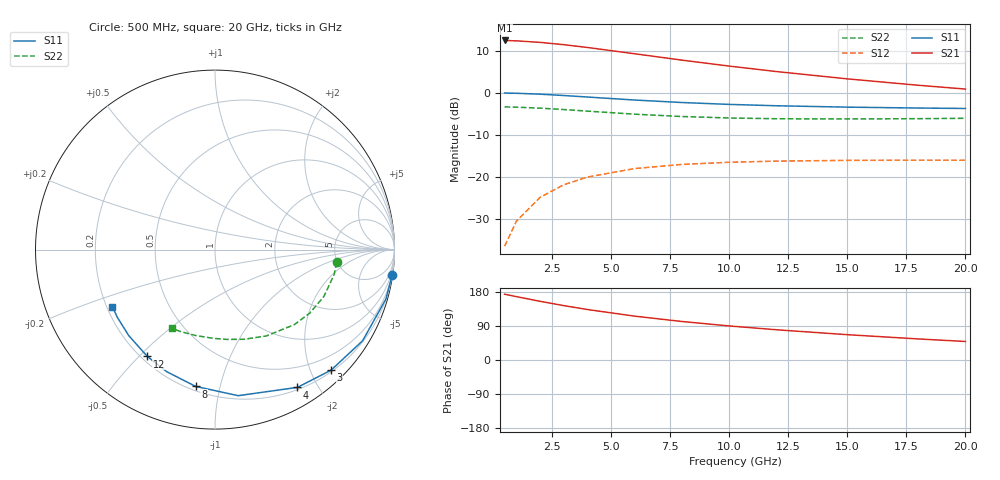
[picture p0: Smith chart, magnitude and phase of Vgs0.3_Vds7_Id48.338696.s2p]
# Hz S RI R 50
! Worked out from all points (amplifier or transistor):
!   12 points, 500 MHz to 20 GHz, reference 50 ohm
!   highest |S21| = 12.5 dB at 500 MHz (marker M1)
!   |S21| within 3 dB of that: start of sweep to 5.791 GHz
!   unconditionally stable (mu >= 1): 18.7 GHz to end of sweep
!   at 2 GHz: K = 0.10, MSG = 18.4 dB, |S12| = -24.8 dB
!   at 8 GHz: K = 0.41, MSG = 12.4 dB, |S12| = -17.0 dB
!   at 20 GHz: K = 1.08, MAG = 6.7 dB, |S12| = -16.0 dB
!   S11 on the Smith chart (normalised r, x): 500 MHz: 0, -14; 3 GHz: 0.23, -2.33; 4 GHz: 0.23, -1.74; 8 GHz: 0.23, -0.84; 12 GHz: 0.22, -0.53; 20 GHz: 0.22, -0.25
5e8  0.9877 -0.141  -4.168 0.4707  0.00146 0.0151  0.6791 -0.0714
1e9  0.9519 -0.276  -4.046 0.9202  0.00572 0.0295  0.6634 -0.1401
2e9  0.8225 -0.5078  -3.605 1.688  0.0211 0.0537  0.6063 -0.2616
3e9  0.6468 -0.6716  -3.007 2.222  0.0418 0.0698  0.5279 -0.354
4e9  0.4593 -0.7677  -2.372 2.524  0.0637 0.0776  0.4427 -0.4177
6e9  0.1292 -0.8138  -1.267 2.627  0.1015 0.0759  0.2862 -0.4811
8e9  -0.1081 -0.7622  -0.4938 2.402  0.1272 0.0629  0.1625 -0.4996
1e10  -0.2684 -0.6804  0.00421 2.083  0.143 0.0469  0.0662 -0.5003
1.2e10  -0.377 -0.5953  0.3175 1.766  0.1521 0.0313  -0.0121 -0.4941
1.5e10  -0.4809 -0.4786  0.5783 1.351  0.1582 0.0105  -0.1093 -0.4785
1.8e10  -0.5437 -0.378  0.6968 1.018  0.1591 -0.00663  -0.1912 -0.4568
2e10  -0.5716 -0.3186  0.7311 0.8374  0.1582 -0.0163  -0.2397 -0.439
